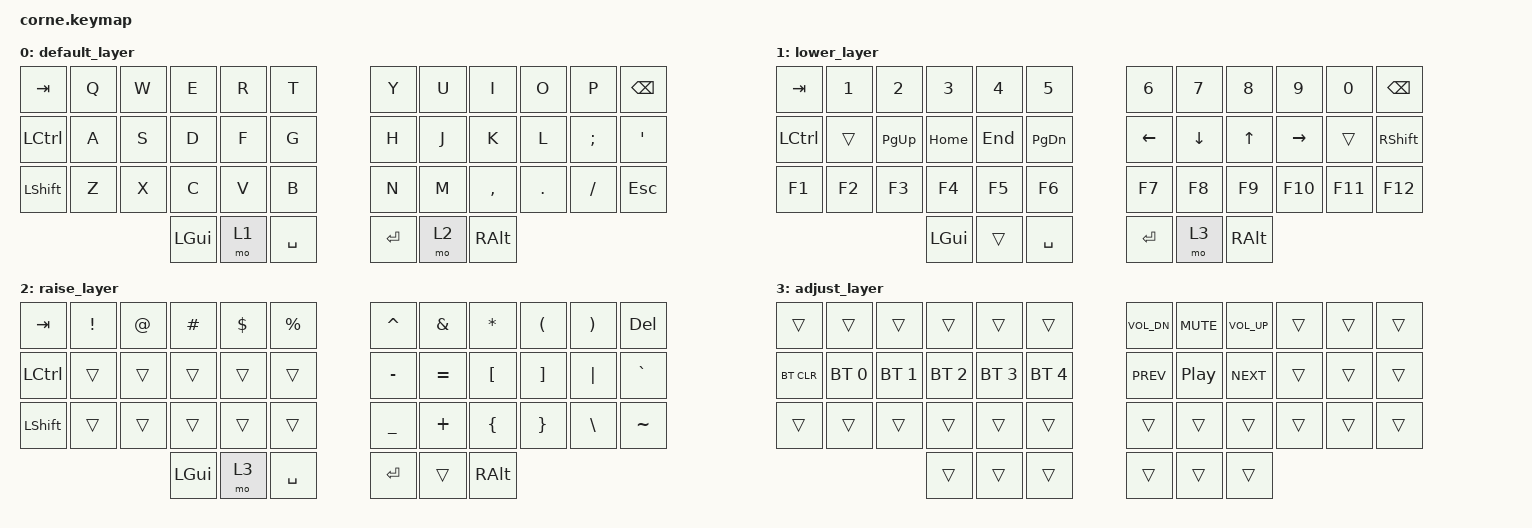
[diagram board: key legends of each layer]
/*
 * Copyright (c) 2020 The ZMK Contributors
 *
 * SPDX-License-Identifier: MIT
 */

#include <behaviors.dtsi>
#include <dt-bindings/zmk/keys.h>
#include <dt-bindings/zmk/bt.h>

/ {
        keymap {
                compatible = "zmk,keymap";

                default_layer {
// -----------------------------------------------------------------------------------------
// |  TAB |  Q  |  W  |  E  |  R  |  T  |   |  Y  |  U   |  I  |  O  |  P  | BKSP |
// | CTRL |  A  |  S  |  D  |  F  |  G  |   |  H  |  J   |  K  |  L  |  ;  |  '   |
// | SHFT |  Z  |  X  |  C  |  V  |  B  |   |  N  |  M   |  ,  |  .  |  /  | ESC  |
//                    | GUI | LWR | SPC |   | ENT | RSE  | ALT |
                        bindings = <
   &kp TAB   &kp Q &kp W &kp E   &kp R &kp T       &kp Y   &kp U  &kp I     &kp O   &kp P    &kp BSPC
   &kp LCTRL &kp A &kp S &kp D   &kp F &kp G       &kp H   &kp J  &kp K     &kp L   &kp SEMI &kp SQT
   &kp LSHFT &kp Z &kp X &kp C   &kp V &kp B       &kp N   &kp M  &kp COMMA &kp DOT &kp FSLH &kp ESC
                        &kp LGUI &mo 1 &kp SPACE   &kp RET &mo 2  &kp RALT
                        >;
                };
                lower_layer {
// -----------------------------------------------------------------------------------------
// |  TAB |  1  |  2   |  3   |  4  |  5   |   |  6  |  7  |  8  |  9  |  0  | BKSP |
// | CTRL |     | PGUP | HOME | END | PGDN |   | LFT | DWN |  UP | RGT |     |      |
// | F1   | F2  |  F3  | F4  |  F5  |  F6  |   | F7  | F8  |  F9 | F10 | F11 |  F12 |
//                     | GUI  | ADJ | SPC  |   | ENT |     | ALT |
                        bindings = <
   &kp TAB   &kp N1 &kp N2    &kp N3   &kp N4  &kp N5      &kp N6   &kp N7   &kp N8 &kp N9    &kp N0  &kp BSPC
   &kp LCTRL &trans &kp PG_UP &kp HOME &kp END &kp PG_DN   &kp LEFT &kp DOWN &kp UP &kp RIGHT &trans  &kp RSHIFT
   &kp F1    &kp F2 &kp F3    &kp F4   &kp F5  &kp F6      &kp F7   &kp F8   &kp F9 &kp F10   &kp F11 &kp F12
                              &kp LGUI &trans  &kp SPACE   &kp RET  &mo 3    &kp RALT
                        >;
                };

                raise_layer {
// -----------------------------------------------------------------------------------------
// |  TAB |  !  |  @  |  #  |  $  |  %  |   |  ^  |  &  |  *  |  (  |  )  | DEL |
// | CTRL |     |     |     |     |     |   |  -  |  =  |  [  |  ]  | "|" |  `  |
// | SHFT |     |     |     |     |     |   |  _  |  +  |  {  |  }  |  \  |  ~  |
//                    | GUI |     | SPC |   | ENT | ADJ | ALT |
                        bindings = <
   &kp  TAB  &kp EXCL &kp AT &kp HASH &kp DLLR &kp PRCNT   &kp CARET &kp AMPS  &kp ASTRK &kp LPAR &kp RPAR &kp DEL
   &kp LCTRL &trans   &trans &trans   &trans   &trans      &kp MINUS &kp EQUAL &kp LBKT  &kp RBKT &kp PIPE &kp GRAVE
   &kp LSHFT &trans   &trans &trans   &trans   &trans      &kp UNDER &kp PLUS  &kp LBRC  &kp RBRC &kp BSLH &kp TILDE
                             &kp LGUI &mo 3    &kp SPACE   &kp RET   &trans    &kp RALT
                        >;
                };

                adjust_layer {
// -----------------------------------------------------------------------------------------
// |      |     |     |     |     |     |   |     | VOL_DN |    MUTE    | VOL_UP |     |      |
// | BTCLR| BT1 | BT2 | BT3 | BT4 | BT5 |   |     | PREV   | PLAY/PAUSE | NEXT   |     |      |
// |      |     |     |     |     |     |   |     |        |            |        |     |      |
//                    |     |     |     |   |     |        |            |
                        bindings = <
   &trans     &trans       &trans       &trans       &trans       &trans            &kp C_VOL_DN &kp C_MUTE &kp C_VOL_UP &trans &trans &trans
   &bt BT_CLR &bt BT_SEL 0 &bt BT_SEL 1 &bt BT_SEL 2 &bt BT_SEL 3 &bt BT_SEL 4      &kp C_PREV   &kp C_PP   &kp C_NEXT   &trans &trans &trans
   &trans     &trans       &trans       &trans       &trans       &trans            &trans       &trans     &trans       &trans &trans &trans
                                        &trans       &trans       &trans            &trans       &trans     &trans
                        >;
                };
        };
};
